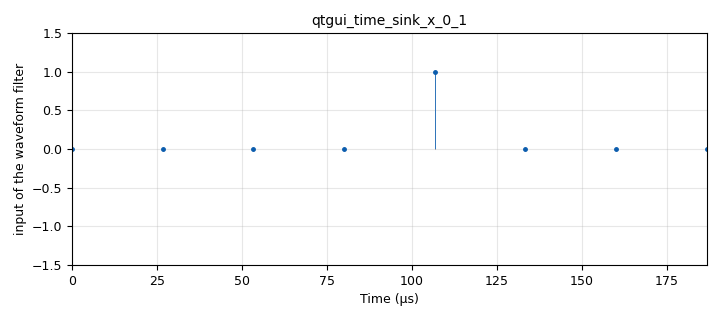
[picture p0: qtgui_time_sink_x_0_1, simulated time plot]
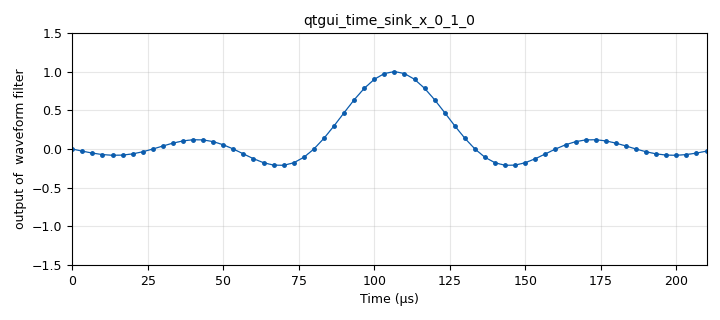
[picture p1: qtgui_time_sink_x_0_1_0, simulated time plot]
options:
  parameters:
    generate_options: qt_gui
    id: top_block
    output_language: python
    run: run_stop
  states: {}

blocks:
- name: BW
  id: variable
  parameters:
    value: W*(1+Rolloff)
  states: {}
- name: Channel_BW
  id: variable_qtgui_range
  parameters:
    gui_hint: 1,0,1,1
    label: Channel_BW
    orient: Qt.Horizontal
    start: '0.'
    step: (samp_rate/2)/100.
    stop: samp_rate/2.
    value: samp_rate/2.
  states: {}
- name: F_Resolucion
  id: variable
  parameters:
    value: samp_rate/N
  states: {}
- name: Fmax
  id: variable
  parameters:
    value: samp_rate/2
  states: {}
- name: N
  id: variable
  parameters:
    value: '1024'
  states: {}
- name: No_dB
  id: variable_qtgui_range
  parameters:
    gui_hint: 1,1,1,1
    label: No (dB)
    orient: Qt.Horizontal
    start: '-300'
    step: 300/100.
    stop: '0'
    value: '-60'
  states: {}
- name: Rb
  id: variable
  parameters:
    value: samp_rate/Sps
  states: {}
- name: Rolloff
  id: variable
  parameters:
    value: '0.1'
  states: {}
- name: Samp_rate_T4
  id: variable
  parameters:
    value: Rb
  states: {}
- name: Sps
  id: variable
  parameters:
    value: '8'
  states: {}
- name: Tntaps
  id: variable
  parameters:
    comment: Ese es el tiempo en que se dan los ntaps
    value: '0.21e-3'
  states: {}
- name: W
  id: variable
  parameters:
    value: Rb/2
  states: {}
- name: bits_afectados_por_ISI
  id: variable
  parameters:
    value: ntaps/Sps-1
  states: {}
- name: h
  id: variable
  parameters:
    value: wform.rcos(Sps,ntaps,Rolloff)
  states: {}
- name: ntaps
  id: variable
  parameters:
    value: Sps*8
  states: {}
- name: run_stop
  id: variable_qtgui_check_box
  parameters:
    'false': 'False'
    gui_hint: 0,0,1,1
    label: Pause
    'true': 'True'
    type: int
    value: 'True'
  states: {}
- name: samp_rate
  id: variable
  parameters:
    value: (ntaps-1)/Tntaps
  states: {}
- name: senal_p2
  id: variable
  parameters:
    value: numpy.concatenate(([1],[0]*(int(ntaps/Sps)-1)))
  states: {}
- name: E3TRadio_decisor_fb_0
  id: E3TRadio_decisor_fb
  parameters:
    Umbral: '0.'
  states: {}
- name: E3TRadio_diezma_ff_0
  id: E3TRadio_diezma_ff
  parameters:
    M: '2'
    N: Sps
  states: {}
- name: E3TRadio_unipolar_to_bipolar_ff_0
  id: E3TRadio_unipolar_to_bipolar_ff
  parameters:
    Amp: '1.'
  states: {}
- name: analog_const_source_x_0
  id: analog_const_source_x
  parameters:
    const: Rb
    type: float
  states: {}
- name: analog_const_source_x_0_0
  id: analog_const_source_x
  parameters:
    const: F_Resolucion
    type: float
  states: {}
- name: analog_const_source_x_0_2
  id: analog_const_source_x
  parameters:
    const: bits_afectados_por_ISI
    type: float
  states: {}
- name: analog_const_source_x_0_2_0
  id: analog_const_source_x
  parameters:
    const: BW
    type: float
  states: {}
- name: analog_const_source_x_0_2_1
  id: analog_const_source_x
  parameters:
    const: Fmax
    type: float
  states: {}
- name: b_Canal_AWGN_ff_0
  id: b_Canal_AWGN_ff
  parameters:
    BW: Channel_BW
    Ch_NodB: No_dB
    Ch_Toffset: '0'
    samp_rate: samp_rate
  states: {}
- name: b_PSD_0_0_0
  id: b_PSD
  parameters:
    Ensayos: '1000000'
    N: '1024'
    Titulo: '''PSD in  R3'''
    Ymax: '1e-5'
    gui_hint: menu@3:3,0,1,1
    samp_rate_audio: samp_rate
  states: {}
- name: b_binary_bipolar_source_f_0
  id: b_binary_bipolar_source_f
  parameters:
    Am: '1.'
    Spb: '1'
  states: {}
- name: blocks_char_to_float_0
  id: blocks_char_to_float
  parameters:
    scale: '1'
  states: {}
- name: blocks_delay_0_1
  id: blocks_delay
  parameters:
    delay: '0'
    type: float
  states: {}
- name: blocks_delay_0_1_0
  id: blocks_delay
  parameters:
    delay: int((ntaps/Sps)/2)
    type: float
  states: {}
- name: blocks_multiply_const_vxx_0
  id: blocks_multiply_const_vxx
  parameters:
    const: '1.'
    type: float
  states: {}
- name: blocks_null_sink_0
  id: blocks_null_sink
  parameters:
    type: float
  states: {}
- name: blocks_vector_source_x_0_0
  id: blocks_vector_source_x
  parameters:
    repeat: 'True'
    type: float
    vector: senal_p2
  states: {}
- name: import_0
  id: import
  parameters:
    imports: import math
  states: {}
- name: import_0_0
  id: import
  parameters:
    imports: import numpy
  states: {}
- name: interp_fir_filter_xxx_0
  id: interp_fir_filter_xxx
  parameters:
    interp: Sps
    taps: h
    type: fff
  states: {}
- name: interp_fir_filter_xxx_0_0
  id: interp_fir_filter_xxx
  parameters:
    interp: Sps
    taps: h
    type: fff
  states: {}
- name: menu
  id: qtgui_tab_widget
  parameters:
    gui_hint: 2,0,1,2
    label0: Datos de Entrada
    label1: P1. Bits afectados
    label2: P2. Frec en T4
    label3: P3.PSD
    num_tabs: '4'
  states: {}
- name: note_0
  id: note
  parameters:
    note: Datos de entrada
  states: {}
- name: note_0_0
  id: note
  parameters:
    note: P3. Cálculos requeridos
  states: {}
- name: note_0_0_0
  id: note
  parameters:
    note: P1
  states: {}
- name: note_0_0_0_0
  id: note
  parameters:
    note: P2
  states: {}
- name: qtgui_number_sink_0
  id: qtgui_number_sink
  parameters:
    graph_type: qtgui.NUM_GRAPH_HORIZ
    gui_hint: menu@2:1,0,1,2
    label1: La frecuencia de muestreo en T4
    type: float
    unit1: Hz
  states: {}
- name: qtgui_number_sink_0_2
  id: qtgui_number_sink
  parameters:
    graph_type: qtgui.NUM_GRAPH_HORIZ
    gui_hint: menu@1:1,0,1,2
    label1: Bits afectados por cada bit
    type: float
  states: {}
- name: qtgui_number_sink_0_2_0
  id: qtgui_number_sink
  parameters:
    graph_type: qtgui.NUM_GRAPH_VERT
    gui_hint: menu@3:0,0,1,1
    label1: BW
    label2: Fmax
    label3: F_resolucion
    name: '"Parámetros de la PSD"'
    nconnections: '3'
    type: float
    unit1: Hz
    unit2: Hz
    unit3: Hz
  states: {}
- name: qtgui_time_sink_x_0_1
  id: qtgui_time_sink_x
  parameters:
    gui_hint: menu@0:1,0,1,2
    label1: ''
    marker1: '0'
    size: int(ntaps/Sps)
    srate: Rb
    stemplot: 'True'
    type: float
    width1: '2'
    ylabel: input of the waveform filter
    ymax: '1.5'
    ymin: '-1.5'
  states: {}
- name: qtgui_time_sink_x_0_1_0
  id: qtgui_time_sink_x
  parameters:
    gui_hint: menu@0:2,0,1,2
    label1: ''
    marker1: '0'
    size: ntaps
    srate: samp_rate
    type: float
    ylabel: output of  waveform filter
    ymax: '1.5'
    ymin: '-1.5'
  states: {}
- name: vs_0
  id: virtual_sink
  parameters:
    stream_id: T3
  states: {}
- name: vs_0_0
  id: virtual_sink
  parameters:
    stream_id: R3
  states: {}
- name: vs_0_0_1
  id: virtual_sink
  parameters:
    stream_id: R4
  states: {}
- name: vs_0_2
  id: virtual_sink
  parameters:
    stream_id: T4
  states: {}
- name: vso_0_1_0
  id: virtual_source
  parameters:
    stream_id: R3
  states: {}
- name: wform
  id: epy_module
  parameters:
    source_code: |
      import math
      import numpy
      #######################################################
      ##        Hecho por Homero Ortega Boada              ##
      ##        comdiguis@saber.uis.edu.co                 ##
      ##     Universidad Industrial de Santander           ##
      #######################################################

      #######################################################
      ##               Forma rectangular                   ##
      #######################################################                       
      def rect(Sps):
          return Sps*[1.,]

      #######################################################
      ##               Forma de Nyquist                    ##
      #######################################################                       
      def nyq(Sps,ntaps):
          n=numpy.linspace(-int(ntaps/2), int(ntaps/2-1),ntaps)
          h=numpy.sinc(n/Sps)
      #    return h/numpy.amax(h)
          return h
      #######################################################
      ##               Forma Coseno Alzado                 ##
      #######################################################                       
      def rcos(Sps,ntaps,beta):
          if beta==0:
              h=nyq(Sps,ntaps)
          else:
              h=ntaps*[0,]
              for n in range(ntaps):
                  k=n-ntaps/2. # esto es para que h[n] quede centrada en la mitad del vector
                  if abs(k)==Sps/(2.*beta):
                      h[n]=numpy.sinc(1./(2.*beta))*math.pi/4.
                  else:
                      h[n]=numpy.sinc(k/Sps)*math.cos(beta*k*math.pi/Sps)/(1.-(2.*beta*k/Sps)**2)                
          Amp=numpy.amax(h)
          return h/Amp
      #######################################################
      ##            Forma Raiz de Coseno Alzado            ##
      #######################################################                       

      def rrcos(Sps,ntaps,beta):
          if beta==0:
              h=nyq(Sps,ntaps)
          else:
              h=ntaps*[0,]
              beta4=4.*beta
              for n in range(ntaps):
                  k=n-ntaps/2. # esto es para que h[n] quede centrada en la mitad del vector
                  if k==0:
                      h[n]=1+beta*(4./math.pi-1.)
                  elif abs(k)==Sps/beta4:
                      ha=(1.+2./math.pi)*math.sin(math.pi/beta4)
                      hb=(1.-2./math.pi)*math.cos(math.pi/beta4)
                      h[n]=(ha+hb)*beta/math.sqrt(2.)
                  else:
                      ks=k/Sps
                      kspi=math.pi*ks
                      Num=math.sin(kspi*(1-beta))+beta4*ks*math.cos(kspi*(1+beta))
                      Den=kspi*(1.-(beta4*ks)**2)
                      h[n]=Num/Den                
          Amp=numpy.amax(h)
          return h/Amp
  states: {}

connections:
- [E3TRadio_decisor_fb_0, '0', blocks_char_to_float_0, '0']
- [E3TRadio_diezma_ff_0, '0', E3TRadio_decisor_fb_0, '0']
- [E3TRadio_unipolar_to_bipolar_ff_0, '0', blocks_null_sink_0, '0']
- [E3TRadio_unipolar_to_bipolar_ff_0, '0', vs_0_0_1, '0']
- [analog_const_source_x_0, '0', qtgui_number_sink_0, '0']
- [analog_const_source_x_0_0, '0', qtgui_number_sink_0_2_0, '2']
- [analog_const_source_x_0_2, '0', qtgui_number_sink_0_2, '0']
- [analog_const_source_x_0_2_0, '0', qtgui_number_sink_0_2_0, '0']
- [analog_const_source_x_0_2_1, '0', qtgui_number_sink_0_2_0, '1']
- [b_Canal_AWGN_ff_0, '0', blocks_multiply_const_vxx_0, '0']
- [b_binary_bipolar_source_f_0, '0', interp_fir_filter_xxx_0, '0']
- [b_binary_bipolar_source_f_0, '0', vs_0_2, '0']
- [blocks_char_to_float_0, '0', E3TRadio_unipolar_to_bipolar_ff_0, '0']
- [blocks_delay_0_1, '0', qtgui_time_sink_x_0_1_0, '0']
- [blocks_delay_0_1_0, '0', qtgui_time_sink_x_0_1, '0']
- [blocks_multiply_const_vxx_0, '0', E3TRadio_diezma_ff_0, '0']
- [blocks_multiply_const_vxx_0, '0', vs_0_0, '0']
- [blocks_vector_source_x_0_0, '0', blocks_delay_0_1_0, '0']
- [blocks_vector_source_x_0_0, '0', interp_fir_filter_xxx_0_0, '0']
- [interp_fir_filter_xxx_0, '0', b_Canal_AWGN_ff_0, '0']
- [interp_fir_filter_xxx_0, '0', vs_0, '0']
- [interp_fir_filter_xxx_0_0, '0', blocks_delay_0_1, '0']
- [vso_0_1_0, '0', b_PSD_0_0_0, '0']

metadata:
  file_format: 1
